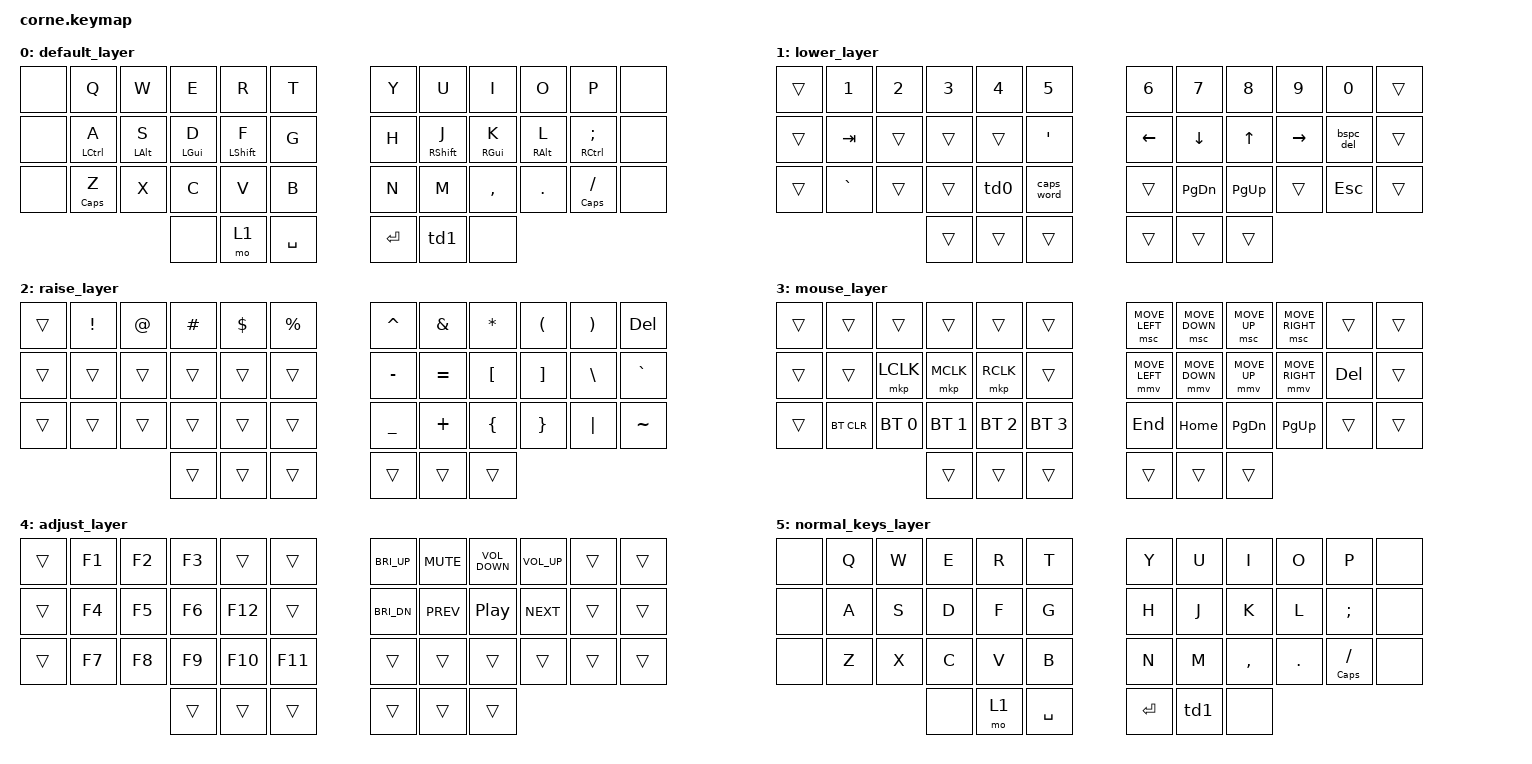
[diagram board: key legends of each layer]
/*
 j Copyright (c) 2020 The ZMK Contributors
 *
 * SPDX-License-Identifier: MIT
 */

#include <behaviors.dtsi>
#include <dt-bindings/zmk/keys.h>
#include <dt-bindings/zmk/bt.h>
#include <dt-bindings/zmk/mouse.h>
#include <behaviors/mouse_keys.dtsi>

/ {
        conditional_layers {
          compatible = "zmk,conditional-layers";
          tri_layer {
            if-layers = <1 2>;
            then-layer = <3>;
          };
        };

        combos {
          compatible = "zmk,combos";

          to_normal_keys_layer {
            bindings = <&tog 5>;
            key-positions = <17 18>; // g + h
          };

         // to_adjust_2_layer {
         //   bindings = <&mo 4>;
         //   key-positions = <40 34>;  // raise + z
         // };
        };

        behaviors {
          bhm: balanced_homerow_mods { // suitable for fast shortcuts/navigating
            compatible = "zmk,behavior-hold-tap";
            #binding-cells = <2>;
            tapping-term-ms = <200>;    // <---[[moderate duration]]
            quick-tap-ms = <0>;
            flavor = "balanced"; // The 'balanced' flavor will trigger the hold behavior when the tapping-term-ms has expired or another key is pressed and released.
            bindings = <&kp>, <&kp>;
          };

          hm: homerow_mods { // suitable for fast typing as this behavior prefers tap over than hold
            compatible = "zmk,behavior-hold-tap";
            #binding-cells = <2>;
            tapping-term-ms = <200>;
            quick-tap-ms = <0>;
            flavor = "tap-preferred"; // The 'tap-preferred' flavor triggers the hold behavior when the tapping-term-ms has expired. Pressing another key within tapping-term-ms does not affect the decision.
            bindings = <&kp>, <&kp>;
          };

          td0: tap_dance_0 {
            compatible = "zmk,behavior-tap-dance";
            #binding-cells = <0>;
            tapping-term-ms = <200>;
            bindings = <&kp ESC>, <&kp GLOBE>; // press once for Esc, and double for Globe/fn key
          };

          td1: tap_dance_1 {
            compatible = "zmk,behavior-tap-dance";
            #binding-cells = <0>;
            tapping-term-ms = <200>;
            bindings = <&mo 2>, <&mo 4>; // press once for "raise_layer", and double for "adjust_layer"
          };

          bspc_del: backspace_delete {
            compatible = "zmk,behavior-mod-morph";
            #binding-cells = <0>;
            bindings = <&kp BACKSPACE>, <&kp DELETE>;
            mods = <(MOD_LSFT|MOD_RSFT)>;
            keep-mods = <(MOD_RSFT)>;
          };

        };

        keymap {
                compatible = "zmk,keymap";

                default_layer {
// -----------------------------------------------------------------------------------------
// |  TAB |  Q  |  W  |  E  |  R  |  T  |   |  Y  |  U   |  I  |  O  |  P  | BKSP |
// | CTRL |  A  |  S  |  D  |  F  |  G  |   |  H  |  J   |  K  |  L  |  ;  |  '   |  --> with home row mods
// | SHFT |  Z  |  X  |  C  |  V  |  B  |   |  N  |  M   |  ,  |  .  |  /  | ESC  |
//                    | GUI | LWR | SPC |   | ENT | RSE  | ALT |
                        bindings = <
  &none      &kp Q        &kp W       &kp E       &kp R         &kp T              &kp Y &kp U         &kp I       &kp O       &kp P           &none
  &none      &hm LCTRL A  &hm LALT S  &hm LGUI D  &hm LSHIFT F  &kp G              &kp H &hm RSHIFT J  &hm RGUI K  &hm RALT L  &bhm RCTRL SEMI &none
  &none      &hm CAPS Z   &kp X       &kp C       &kp V         &kp B              &kp N &kp M         &kp COMMA   &kp DOT     &hm CAPS FSLH   &none
                                      &none       &mo 1     &kp SPACE              &kp RET &td1 &none
                        >;
                };
                lower_layer {
// -----------------------------------------------------------------------------------------
// |  TAB |  1  |  2  |  3  |  4 |  5 |     |    6     |     7    |     8    |     9    |    0   |      |
// | CTRL | CAPS|     |     |    |    |     | LFT      |  DWN     |    UP    |    RGT   |        |      |
// | SHFT |     |     |     |    |    |     |          | PG_DOWN  |  PG_UP   |    HOME  |   END  |      |
//                    | GUI |     | SPC |   | ENT |       | ALT     |
                        bindings = <
   &trans     &kp N1    &kp N2   &kp N3   &kp N4   &kp N5              &kp N6         &kp N7         &kp N8         &kp N9         &kp N0      &trans
   &trans     &kp TAB   &trans   &trans   &trans   &kp SQT             &kp LEFT       &kp DOWN       &kp UP         &kp RIGHT      &bspc_del   &trans
   &trans     &kp GRAVE &trans   &trans   &td0     &caps_word          &trans         &kp PAGE_DOWN  &kp PAGE_UP    &trans         &kp ESC     &trans
                                 &trans   &trans   &trans              &trans         &trans         &trans
                        >;
                };

                raise_layer {
// -----------------------------------------------------------------------------------------
// |  TAB |  !   |  @  |  #  |  $  |  %  |   |  ^  |  &  |  *  |  (  |  )  | DEL  |
// | CTRL |      |     |     |     |     |   |  -  |  =  |  [  |  ]  |  \  |  `   |
// | SHFT |      |     |     |     |     |   |  _  |  +  |  {  |  }  | "|" |  ~   |
//                     | GUI |     | SPC |   | ENT |     | ALT |
                        bindings = <
   &trans   &kp EXCL &kp AT &kp HASH &kp DLLR &kp PRCNT                        &kp CARET &kp AMPS  &kp ASTRK &kp LPAR &kp RPAR &kp DEL
   &trans   &trans   &trans &trans   &trans   &trans                           &kp MINUS &kp EQUAL &kp LBKT  &kp RBKT &kp BSLH &kp GRAVE
   &trans   &trans   &trans &trans   &trans   &trans                           &kp UNDER &kp PLUS  &kp LBRC  &kp RBRC &kp PIPE &kp TILDE
                            &trans   &trans   &trans                           &trans    &trans    &trans
                        >;
                };

                mouse_layer {
// -----------------------------------------------------------------------------------------
// |  TAB |     |      |      |      |     |         msc| LFT |  DWN    |    UP    |   RGT  |     |      |
// | CTRL |     | LCLK | MCLK | RCLK |     |         mmv| LFT |  DWN    |    UP    |   RGT  |     |      |
// | SHFT |BTCLR| BT1  | BT2  | BT3  | BT4 |            |     | PG_DOWN |  PG_UP   |        |     |      |
//                     | GUI  |      | SPC |            | ENT |         |   ALT    |
                        bindings = <
   &trans    &trans     &trans       &trans       &trans       &trans                  &msc MOVE_LEFT &msc MOVE_DOWN  &msc MOVE_UP  &msc MOVE_RIGHT  &trans  &trans
   &trans    &trans     &mkp LCLK    &mkp MCLK    &mkp RCLK    &trans                  &mmv MOVE_LEFT &mmv MOVE_DOWN  &mmv MOVE_UP  &mmv MOVE_RIGHT  &kp DEL &trans
   &trans    &bt BT_CLR &bt BT_SEL 0 &bt BT_SEL 1 &bt BT_SEL 2 &bt BT_SEL 3            &kp END        &kp HOME        &kp PAGE_DOWN &kp PAGE_UP      &trans  &trans
                                            &trans   &trans    &trans                  &trans         &trans          &trans
                        >;
                };

                adjust_layer {
// -----------------------------------------------------------------------------------------
// |  TAB |  F1  |  F2  |  F3  |       |     |                  | C_BRI_DN | C_BRI_DN |  MUTE    | VOL_DOWN | VOL_UP   |      |
// | CTRL |  F4  |  F5  |  F6  |  F12  |     |                  |          |          |  PREV    |  PAUSE   |  NEXT    |      |
// | SHFT |  F7  |  F8  |  F9  |  F10  |  F11  |                |          |          |          |          |          |      |
//                    | GUI |     | SPC |                       | ENT      |          | ALT |
                        bindings = <
   &trans   &kp F1 &kp F2 &kp F3 &trans   &trans                           &kp C_BRI_UP   &kp C_MUTE     &kp C_VOLUME_DOWN     &kp C_VOLUME_UP       &trans           &trans
   &trans   &kp F4 &kp F5 &kp F6 &kp F12  &trans                           &kp C_BRI_DN   &kp C_PREV     &kp C_PP              &kp C_NEXT            &trans           &trans
   &trans   &kp F7 &kp F8 &kp F9 &kp F10  &kp F11                          &trans         &trans         &trans                &trans                &trans           &trans
                       &trans    &trans   &trans                           &trans         &trans         &trans
                        >;
                };

                normal_keys_layer {
// -----------------------------------------------------------------------------------------
// |  TAB |  Q  |  W  |  E  |  R  |  T  |   |  Y  |  U   |  I  |  O  |  P  | BKSP |
// | CTRL |  A  |  S  |  D  |  F  |  G  |   |  H  |  J   |  K  |  L  |  ;  |  '   |  --> with home row mods
// | SHFT |  Z  |  X  |  C  |  V  |  B  |   |  N  |  M   |  ,  |  .  |  /  | ESC  |
//                    | GUI | LWR | SPC |   | ENT | RSE  | ALT |
                        bindings = <
  &none      &kp Q        &kp W       &kp E       &kp R         &kp T              &kp Y &kp U         &kp I       &kp O       &kp P           &none
  &none      &kp A        &kp S       &kp D       &kp F         &kp G              &kp H &kp J         &kp K       &kp L       &kp SEMI        &none
  &none      &kp Z        &kp X       &kp C       &kp V         &kp B              &kp N &kp M         &kp COMMA   &kp DOT     &hm CAPS FSLH   &none
                                      &none       &mo 1     &kp SPACE              &kp RET &td1 &none
                        >;
                };
        };
};
